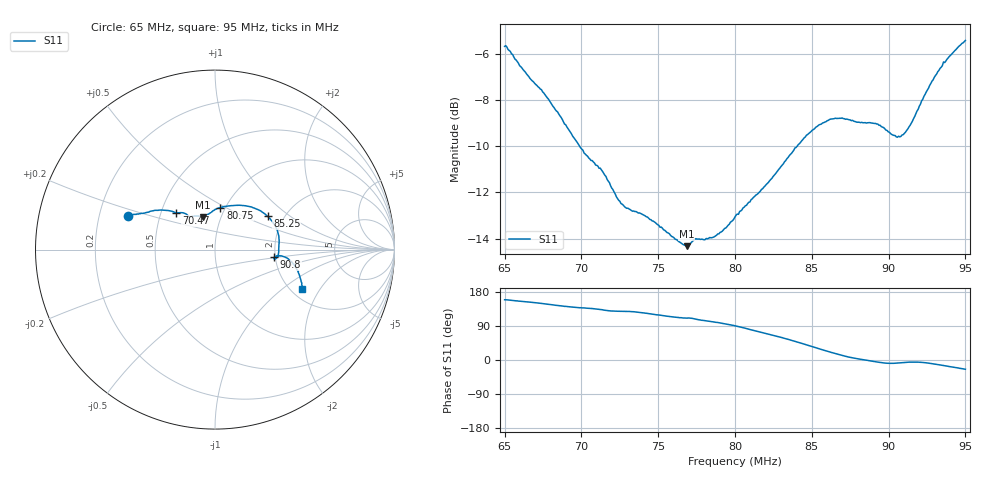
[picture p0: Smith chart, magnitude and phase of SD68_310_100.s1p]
! NanoVNA-App
! Date: 2025-08-09 16:47:20
! Start: 65MHz Stop: 95MHz Points: 401
! S-Parameter data: F S11
# Hz S RI R 50
!  Frequency  S11_Real  S11_Imag
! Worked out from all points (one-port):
!   401 points, 65 MHz to 95 MHz, reference 50 ohm
!   lowest |S11| = -14.3 dB at 76.85 MHz (marker M1), VSWR 1.48, Z = 41.1 + j15.4 ohm
!   |S11| at or under -10 dB: 69.88 MHz to 84.05 MHz (14.17 MHz wide, 18.4 % of centre)
!   S11 on the Smith chart (normalised r, x): 65 MHz: 0.33, +0.17; 70.47 MHz: 0.60, +0.27; 80.75 MHz: 0.95, +0.47; 85.25 MHz: 1.64, +0.70; 90.8 MHz: 1.97, -0.19; 95 MHz: 2.28, -1.42
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6.5e7  -0.4847 0.1864
6.755e7  -0.3509 0.2157
6.875e7  -0.287 0.2197
7.0475e7  -0.2161 0.2054
7.1375e7  -0.1884 0.2055
7.25e7  -0.149 0.1886
7.3925e7  -0.1295 0.1846
7.625e7  -0.0754 0.1831
7.685e7  -0.0671 0.1801
7.745e7  -0.0612 0.1899
7.865e7  -0.0356 0.1982
8e7  -0.00128 0.2224
8.075e7  0.0297 0.2337
8.24e7  0.1095 0.246
8.375e7  0.1932 0.2391
8.45e7  0.2451 0.2201
8.525e7  0.2926 0.1867
8.6375e7  0.3427 0.1169
8.75e7  0.3575 0.0438
8.9e7  0.3535 -0.0224
8.9675e7  0.3436 -0.0462
9.02e7  0.3312 -0.0512
9.08e7  0.329 -0.0433
9.125e7  0.3425 -0.0353
9.1925e7  0.3778 -0.0374
9.26e7  0.4176 -0.061
9.3725e7  0.4649 -0.1295
9.5e7  0.4868 -0.2216
